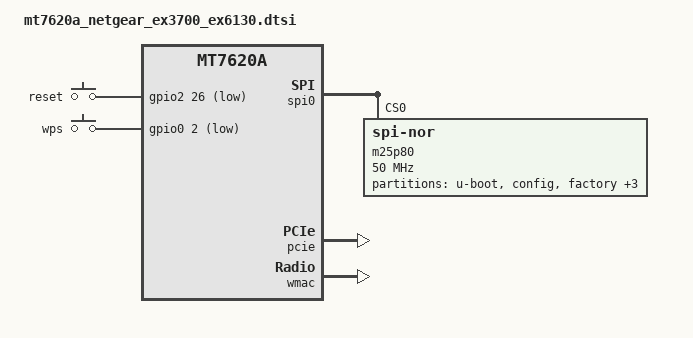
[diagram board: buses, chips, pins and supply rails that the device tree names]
#include <dt-bindings/gpio/gpio.h>
#include <dt-bindings/input/input.h>

#include "mt7620a.dtsi"

/ {
	chosen {
		bootargs = "console=ttyS0,57600";
	};

	keys {
		compatible = "gpio-keys";

		reset {
			label = "reset";
			gpios = <&gpio2 26 GPIO_ACTIVE_LOW>;
			linux,code = <KEY_RESTART>;
		};

		wps {
			label = "wps";
			gpios = <&gpio0 2 GPIO_ACTIVE_LOW>;
			linux,code = <KEY_WPS_BUTTON>;
		};
	};
};

&gpio0 {
	status = "okay";
};

&gpio2 {
	status = "okay";
};

&spi0 {
	status = "okay";

	m25p80@0 {
		compatible = "jedec,spi-nor";
		reg = <0>;
		spi-max-frequency = <50000000>;

		partitions {
			compatible = "fixed-partitions";
			#address-cells = <1>;
			#size-cells = <1>;

			partition@0 {
				label = "u-boot";
				reg = <0x0 0x30000>;
				read-only;
			};

			partition@30000 {
				label = "config";
				reg = <0x30000 0x10000>;
				read-only;
			};

			factory: partition@40000 {
				label = "factory";
				reg = <0x40000 0x10000>;
				read-only;
			};

			partition@50000 {
				compatible = "denx,uimage";
				label = "firmware";
				reg = <0x50000 0x790000>;
			};

			partition@7e0000 {
				label = "board_data";
				reg = <0x7e0000 0x10000>;
				read-only;
			};

			partition@7f0000 {
				label = "nvram";
				reg = <0x7f0000 0x10000>;
				read-only;
			};
		};
	};
};

&pcie {
	status = "okay";
};

&pcie0 {
	mt76@0,0 {
		reg = <0x0000 0 0 0 0>;
		mediatek,mtd-eeprom = <&factory 0x8000>;
		ieee80211-freq-limit = <5000000 6000000>;
	};
};

&ethernet {
	mtd-mac-address = <&factory 0x28>;
};

&wmac {
	ralink,mtd-eeprom = <&factory 0x0>;
};

&pinctrl {
	state_default: pinctrl0 {
		default {
			ralink,group = "i2c", "rgmii2", "spi refclk";
			ralink,function = "gpio";
		};
	};
};
